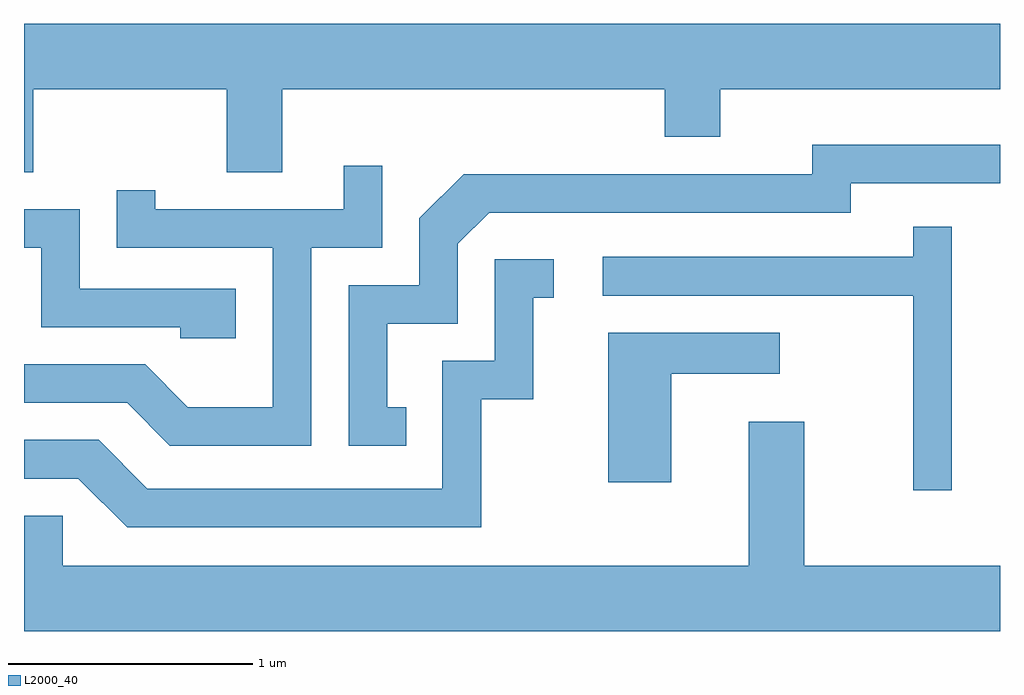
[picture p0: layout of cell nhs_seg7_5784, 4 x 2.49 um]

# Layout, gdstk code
import gdstk
lib = gdstk.Library(unit=1e-6, precision=1e-09)
def P(c, l, *ps):  # polygons
    for p in ps: c.add(gdstk.Polygon(p, *l))
L2000_40 = (2000, 40)

nhs_seg7_5784 = lib.new_cell('nhs_seg7_5784')
P(nhs_seg7_5784, L2000_40, [(361.649,1758.716),(362.441,1758.716),(362.441,1758.376),(362.669,1758.376),(362.669,1758.716),(364.236,1758.716),(364.236,1758.521),(364.464,1758.521),(364.464,1758.716),(365.611,1758.716),(365.611,1758.984),(361.611,1758.984),(361.611,1758.376),(361.649,1758.376)],
  [(363.178,1757.414),(363.099,1757.414),(363.099,1757.756),(363.389,1757.756),(363.389,1758.084),(363.517,1758.211),(364.999,1758.211),(364.999,1758.331),(365.611,1758.331),(365.611,1758.489),(364.841,1758.489),(364.841,1758.369),(363.414,1758.369),(363.231,1758.187),(363.231,1757.914),(362.941,1757.914),(362.941,1757.256),(363.178,1757.256)],
  [(362.789,1758.066),(363.079,1758.066),(363.079,1758.403),(362.921,1758.403),(362.921,1758.224),(362.149,1758.224),(362.149,1758.303),(361.991,1758.303),(361.991,1758.066),(362.631,1758.066),(362.631,1757.414),(362.282,1757.414),(362.107,1757.589),(361.611,1757.589),(361.611,1757.431),(362.034,1757.431),(362.209,1757.256),(362.789,1757.256)],
  [(362.479,1757.899),(361.839,1757.899),(361.839,1758.224),(361.611,1758.224),(361.611,1758.066),(361.681,1758.066),(361.681,1757.741),(362.251,1757.741),(362.251,1757.696),(362.479,1757.696)],
  [(365.414,1758.153),(365.256,1758.153),(365.256,1758.029),(363.983,1758.029),(363.983,1757.871),(365.256,1757.871),(365.256,1757.073),(365.414,1757.073)],
  [(363.484,1757.446),(363.699,1757.446),(363.699,1757.861),(363.783,1757.861),(363.783,1758.019),(363.541,1758.019),(363.541,1757.604),(363.326,1757.604),(363.326,1757.079),(362.117,1757.079),(361.917,1757.279),(361.611,1757.279),(361.611,1757.121),(361.834,1757.121),(362.034,1756.921),(363.484,1756.921)],
  [(364.264,1757.551),(364.708,1757.551),(364.708,1757.719),(364.006,1757.719),(364.006,1757.106),(364.264,1757.106)],
  [(365.611,1756.764),(364.809,1756.764),(364.809,1757.354),(364.581,1757.354),(364.581,1756.764),(361.769,1756.764),(361.769,1756.969),(361.611,1756.969),(361.611,1756.496),(365.611,1756.496)])

lib.write_gds('nhs_seg7_5784.gds')
